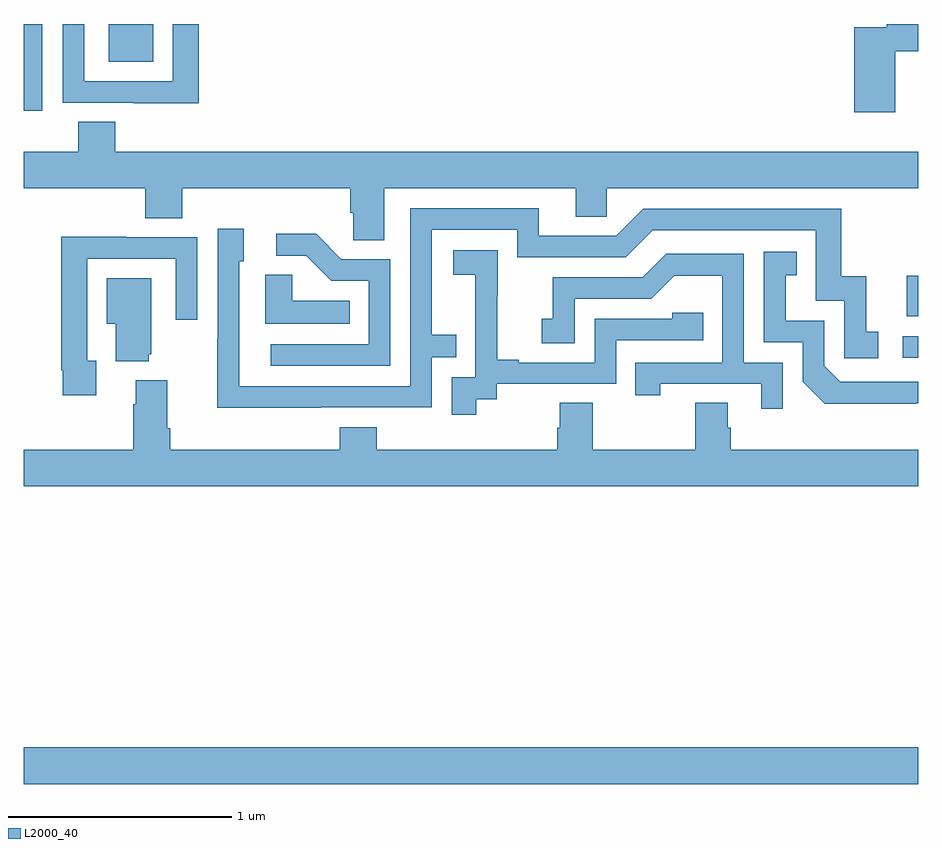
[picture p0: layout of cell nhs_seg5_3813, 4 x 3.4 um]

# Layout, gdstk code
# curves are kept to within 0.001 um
import gdstk
lib = gdstk.Library(unit=1e-6, precision=1e-09)
def R(c, l, rs):  # rectangles x0, y0, x1, y1
    for r in rs: c.add(gdstk.rectangle(r[:2], r[2:], *l))
def P(c, l, *ps):  # polygons
    for p in ps: c.add(gdstk.Polygon(p, *l))
L2000_40 = (2000, 40)

nhs_seg5_3813 = lib.new_cell('nhs_seg5_3813')
R(nhs_seg5_3813, L2000_40, [(335,883.4,339,883.564), (338.931,885.306,339,885.402), (338.948,885.491,339,885.673), (335,886.41,335.082,886.799), (335.381,886.631,335.578,886.799)])
P(nhs_seg5_3813, L2000_40, [(335.783,886.799),(335.667,886.799),(335.667,886.542),(335.271,886.542),(335.271,886.799),(335.175,886.799),(335.175,886.446),(335.491,886.446),(335.491,886.445),(335.783,886.445)],
  [(338.897,886.677),(339,886.677),(339,886.799),(338.86,886.799),(338.86,886.785),(338.714,886.785),(338.714,886.404),(338.897,886.404)],
  [(336.613,886.064),(337.469,886.064),(337.469,885.937),(337.608,885.937),(337.608,886.064),(339,886.064),(339,886.228),(335.408,886.228),(335.408,886.361),(335.243,886.361),(335.243,886.228),(335,886.228),(335,886.064),(335.543,886.064),(335.543,885.931),(335.708,885.931),(335.708,886.064),(336.461,886.064),(336.461,885.955),(336.474,885.955),(336.474,885.832),(336.613,885.832)],
  [(336.329,885.084),(336.825,885.084),(336.825,885.309),(336.935,885.309),(336.935,885.41),(336.825,885.41),(336.825,885.879),(337.206,885.879),(337.206,885.756),(337.692,885.756),(337.812,885.876),(338.541,885.876),(338.541,885.561),(338.67,885.561),(338.67,885.303),(338.821,885.303),(338.821,885.423),(338.768,885.423),(338.768,885.67),(338.657,885.67),(338.657,885.972),(337.77,885.972),(337.65,885.852),(337.303,885.852),(337.303,885.975),(336.729,885.975),(336.729,885.18),(335.964,885.18),(335.964,885.738),(335.983,885.738),(335.983,885.883),(335.868,885.883),(335.868,885.389),(335.866,885.389),(335.866,885.083)],
  [(336.639,885.747),(336.42,885.747),(336.307,885.86),(336.129,885.86),(336.129,885.762),(336.263,885.762),(336.374,885.651),(336.543,885.651),(336.543,885.366),(336.105,885.366),(336.105,885.27),(336.639,885.27)],
  [(335.323,885.294),(335.283,885.294),(335.283,885.75),(335.679,885.75),(335.679,885.477),(335.775,885.477),(335.775,885.846),(335.459,885.846),(335.459,885.848),(335.167,885.848),(335.167,885.25),(335.175,885.25),(335.175,885.138),(335.323,885.138)],
  [(337.024,885.121),(337.116,885.121),(337.116,885.189),(337.65,885.189),(337.65,885.384),(338.039,885.384),(338.039,885.507),(337.899,885.507),(337.899,885.48),(337.554,885.48),(337.554,885.285),(337.213,885.285),(337.213,885.298),(337.118,885.298),(337.118,885.581),(337.119,885.581),(337.119,885.787),(336.921,885.787),(336.921,885.677),(337.019,885.677),(337.019,885.449),(337.02,885.449),(337.02,885.219),(336.915,885.219),(336.915,885.051),(337.024,885.051)],
  [(338.99,885.102),(339,885.102),(339,885.198),(338.652,885.198),(338.58,885.27),(338.58,885.471),(338.407,885.471),(338.407,885.675),(338.456,885.675),(338.456,885.781),(338.31,885.781),(338.31,885.375),(338.484,885.375),(338.484,885.198),(338.582,885.101)],
  [(338.394,885.285),(338.22,885.285),(338.22,885.771),(337.874,885.771),(337.769,885.666),(337.366,885.666),(337.366,885.481),(337.317,885.481),(337.317,885.372),(337.464,885.372),(337.464,885.57),(337.806,885.57),(337.91,885.674),(338.124,885.674),(338.124,885.285),(337.735,885.285),(337.735,885.138),(337.846,885.138),(337.846,885.189),(338.297,885.189),(338.297,885.078),(338.394,885.078)],
  [(336.458,885.562),(336.201,885.562),(336.201,885.677),(336.08,885.677),(336.08,885.458),(336.458,885.458)],
  [(335.558,885.321),(335.569,885.321),(335.569,885.661),(335.372,885.661),(335.372,885.458),(335.411,885.458),(335.411,885.29),(335.558,885.29)],
  [(339,884.896),(338.162,884.896),(338.162,884.994),(338.149,884.994),(338.149,885.104),(338.002,885.104),(338.002,884.896),(337.545,884.896),(337.545,885.104),(337.397,885.104),(337.397,884.994),(337.385,884.994),(337.385,884.896),(336.578,884.896),(336.578,884.995),(336.413,884.995),(336.413,884.896),(335.654,884.896),(335.654,884.992),(335.641,884.992),(335.641,885.205),(335.501,885.205),(335.501,885.098),(335.489,885.098),(335.489,884.896),(335,884.896),(335,884.732),(339,884.732)])

lib.write_gds('nhs_seg5_3813.gds')
